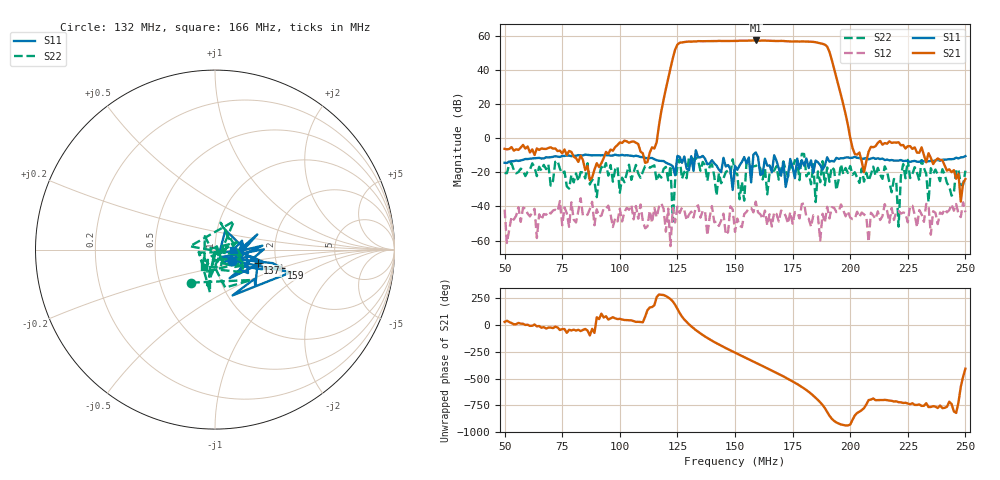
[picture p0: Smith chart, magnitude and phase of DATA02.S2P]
! Network Analyzer HP8753D.06.12 Serial No. 3410A09394
! 13 Jun 2019  09:07:39
# HZ  S  DB R 50
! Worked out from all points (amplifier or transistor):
!   201 points, 50 MHz to 250 MHz, reference 50 ohm
!   highest |S21| = 57.2 dB at 159 MHz (marker M1)
!   |S21| within 3 dB of that: 124.8 MHz to 189.5 MHz (64.7 MHz wide, 41.2 % of centre)
!   unconditionally stable (mu >= 1): start of sweep to 122.9 MHz; 186.5973 MHz to 187.4039 MHz; 193.2 MHz to end of sweep
!   at 83 MHz: K = 83.46, MAG = -9.7 dB, |S12| = -35.2 dB
!   at 150 MHz: K = 1.03, MSG = 55.9 dB, |S12| = -54.9 dB
!   at 250 MHz: K = 1042.67, MAG = -23.5 dB, |S12| = -43.4 dB
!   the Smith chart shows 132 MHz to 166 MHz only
!   S11 on the Smith chart (normalised r, x): 132 MHz: 1.19, -0.15; 137 MHz: 1.60, -0.25; 159 MHz: 2.09, -0.49; 166 MHz: 1.22, -0.01
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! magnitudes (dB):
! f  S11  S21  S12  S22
! 50 MHz  -14.4  -6.3  -41.8  -20.4
! 84 MHz  -10.1  -12.9  -45.4  -20.1
! 117 MHz  -13.3  7.4  -40.3  -21.4
! 122 MHz  -15.5  40.9  -63.3  -16.1
! 123 MHz  -16.5  46.7  -40.8  -48.8
! 126 MHz  -10.9  55.8  -43.8  -12.2
! 132 MHz  -19.1  56.6  -46.5  -12.9
! 137 MHz  -12.1  56.7  -42.7  -15.9
! 150 MHz  -16.3  56.9  -54.9  -20.4
! 159 MHz  -8.4  57.2  -37.2  -16.3
! 166 MHz  -20.0  57.0  -51.8  -19.0
! 184 MHz  -20.2  56.3  -45.2  -15.3
! 185 MHz  -13.1  56.1  -45.6  -37.5
! 188 MHz  -18.6  55.2  -44.3  -13.5
! 206 MHz  -12.0  -20.0  -44.7  -25.5
! 217 MHz  -13.0  -1.9  -49.4  -25.9
! 220 MHz  -13.1  -2.7  -43.0  -25.5
! 221 MHz  -13.1  -2.4  -42.7  -51.8
! 222 MHz  -12.8  -4.2  -44.2  -22.3
! 225 MHz  -13.4  -4.7  -49.4  -12.7
! 234 MHz  -13.6  -8.8  -39.2  -37.5
! 250 MHz  -10.5  -23.9  -43.4  -19.1
